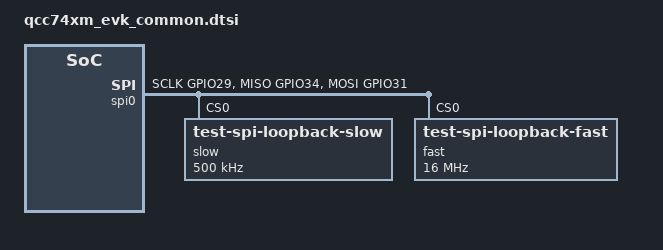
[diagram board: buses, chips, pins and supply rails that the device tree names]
/*
 * Copyright (c) 2026 Qualcomm Technologies, Inc. and/or its subsidiaries
 * SPDX-License-Identifier: BSD-3-Clause
 */

&pinctrl {
	status = "okay";
	spi0_default: spi0_default {
		group1 {
			pinmux = <SPI0_SCLK_GPIO29>,
				<SPI0_MISO_GPIO34>,
				<SPI0_MOSI_GPIO31>;
			bias-pull-up;
			drive-strength = <1>;
			input-schmitt-enable;
			input-enable;
		};
	};
};

&spi0 {
	status = "okay";
	pinctrl-0 = <&spi0_default>;
	pinctrl-names = "default";
	slow@0 {
		compatible = "test-spi-loopback-slow";
		reg = <0>;
		spi-max-frequency = <500000>;
	};
	fast@0 {
		compatible = "test-spi-loopback-fast";
		reg = <0>;
		spi-max-frequency = <16000000>;
	};
};

&dma {
	status = "okay";
};
